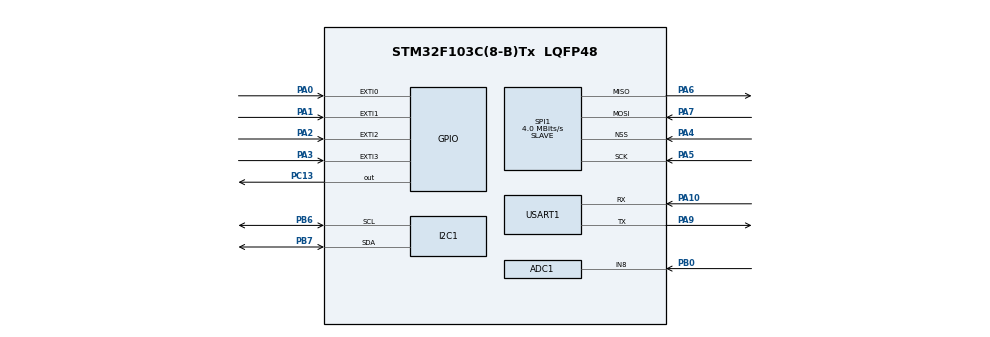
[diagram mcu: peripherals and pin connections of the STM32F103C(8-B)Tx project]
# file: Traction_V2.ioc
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ADC1.Channel-3\#ChannelRegularConversion=ADC_CHANNEL_8
ADC1.NbrOfConversionFlag=1
ADC1.Rank-3\#ChannelRegularConversion=1
ADC1.SamplingTime-3\#ChannelRegularConversion=ADC_SAMPLETIME_1CYCLE_5
ADC1.master=1
Mcu.Family=STM32F1
Mcu.Name=STM32F103C(8-B)Tx
Mcu.Package=LQFP48
NVIC.EXTI0_IRQn=true\:0\:0\:false\:false\:true\:true
NVIC.EXTI1_IRQn=true\:0\:0\:false\:false\:true\:true
NVIC.EXTI2_IRQn=true\:0\:0\:false\:false\:true\:true
NVIC.EXTI3_IRQn=true\:0\:0\:false\:false\:true\:true
NVIC.PriorityGroup=NVIC_PRIORITYGROUP_4
NVIC.SPI1_IRQn=true\:0\:0\:false\:false\:true\:true
NVIC.TIM2_IRQn=true\:0\:0\:false\:false\:true\:true
NVIC.TIM3_IRQn=true\:0\:0\:false\:false\:true\:true
PA0-WKUP.Signal=GPXTI0
PA1.Signal=GPXTI1
PA10.Mode=Asynchronous
PA10.Signal=USART1_RX
PA13.Mode=Serial_Wire
PA13.Signal=SYS_JTMS-SWDIO
PA14.Mode=Serial_Wire
PA14.Signal=SYS_JTCK-SWCLK
PA2.Signal=GPXTI2
PA3.Signal=GPXTI3
PA4.Mode=NSS_Signal_Hard_Input
PA4.Signal=SPI1_NSS
PA5.Mode=Full_Duplex_Slave
PA5.Signal=SPI1_SCK
PA6.Mode=Full_Duplex_Slave
PA6.Signal=SPI1_MISO
PA7.Mode=Full_Duplex_Slave
PA7.Signal=SPI1_MOSI
PA9.Mode=Asynchronous
PA9.Signal=USART1_TX
PB0.Signal=ADCx_IN8
PB6.Mode=I2C
PB6.Signal=I2C1_SCL
PB7.Mode=I2C
PB7.Signal=I2C1_SDA
PC13-TAMPER-RTC.Signal=GPIO_Output
ProjectManager.HeapSize=0x200
ProjectManager.StackSize=0x400
ProjectManager.TargetToolchain=Makefile
RCC.APB1Freq_Value=8000000
RCC.APB2Freq_Value=8000000
SH.ADCx_IN8.0=ADC1_IN8,IN8
SPI1.CalculateBaudRate=4.0 MBits/s
SPI1.Direction=SPI_DIRECTION_2LINES
SPI1.Mode=SPI_MODE_SLAVE
SPI1.VirtualNSS=VM_NSSHARD
SPI1.VirtualType=VM_SLAVE
USART1.VirtualMode=VM_ASYNC
VP_TIM2_VS_ClockSourceINT.Mode=Internal
VP_TIM3_VS_ClockSourceINT.Mode=Internal
board=custom

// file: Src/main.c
#include "main.h"

ADC_HandleTypeDef hadc1;

I2C_HandleTypeDef hi2c1;

SPI_HandleTypeDef hspi1;

TIM_HandleTypeDef htim2;
TIM_HandleTypeDef htim3;

UART_HandleTypeDef huart1;

/* USER CODE BEGIN PV */

/* parameter list:

PID: Kp, Ki, Kd, update rate (TIM)
EXTI: TIM frequency, timeout value

pot i2c address

EXTI0 = front left wheel
EXTI1 = front right wheel
EXTI2 = back left wheel
EXTI3 = back right wheel
TIM2 = freq measurement timer
TIM3 = PID timer

timeout - if count == 3, reset count, freq = 0

*/

int setpoint = 0;
int bias = 50;

float kp = 1;
float ki = 0;
float kd = 0;
int pid_rate = 25; // Hz
float dt = 0.04;

float integral = 0;
float derivative = 0;

int control = 0;
int slip = 0;
int error = 0;
int prev_error = 0;
int front_avg = 0;
int back_avg = 0;

int tc_on = 1;

//front left wheel
int fl_new = 0; // current timer value
int fl_old = 0; // previous timer value
int fl_count = 0; // count TIM2 resets between fl_new and fl_old
int fl_delta = 0; // difference in ticks between new and old
int fl_freq = 0; // frequency in Hz

//front right wheel
int fr_new = 0; // current timer value
int fr_old = 0; // previous timer value
int fr_count = 0; // count TIM2 resets between fl_new and fl_old
int fr_delta = 0; // difference in ticks between new and old
int fr_freq = 0; // frequency in Hz

//back left wheel
int bl_new = 0; // current timer value
int bl_old = 0; // previous timer value
int bl_count = 0; // count TIM2 resets between fl_new and fl_old
int bl_delta = 0; // difference in ticks between new and old
int bl_freq = 0; // frequency in Hz

//back right wheel
int br_new = 0; // current timer value
int br_old = 0; // previous timer value
int br_count = 0; // count TIM2 resets between fl_new and fl_old
int br_delta = 0; // difference in ticks between new and old
int br_freq = 0; // frequency in Hz

// traction control code
uint8_t traction_control_count = 0;
#define MAX_CONTROL_VALUE 255
#define TRACTION_DISABLE_COUNT 8
#define MIN(x, y) ((y) ^ (((x) ^ (y)) & -((x) < (y))))
#define MAX(x, y) ((x) ^ (((x) ^ (y)) & -((x) < (y))))

/* USER CODE END PV */

void SystemClock_Config(void);
static void MX_GPIO_Init(void);
static void MX_I2C1_Init(void);
static void MX_SPI1_Init(void);
static void MX_USART1_UART_Init(void);
static void MX_TIM2_Init(void);
static void MX_ADC1_Init(void);
static void MX_TIM3_Init(void);

int main(void)
{

  /* MCU Configuration--------------------------------------------------------*/

  /* Reset of all peripherals, Initializes the Flash interface and the Systick. */
  HAL_Init();

  /* Configure the system clock */
  SystemClock_Config();

  /* Initialize all configured peripherals */
  MX_GPIO_Init();
  MX_I2C1_Init();
  MX_SPI1_Init();
  MX_USART1_UART_Init();
  MX_TIM2_Init();
  MX_ADC1_Init();
  MX_TIM3_Init();
  /* USER CODE BEGIN 2 */
  unsigned char data[1];
  /* USER CODE END 2 */

  /* Infinite loop */
  while (1)
  {

	/* if (tc_on) PID_controller();
	else I = 0, send lowest R over I2C */
	// PID interrupt still runs when TC is off, but the value isn't sent

	fl_freq = 40000 / fl_delta;
	fr_freq = 40000 / fr_delta;
	bl_freq = 40000 / bl_delta;
	br_freq = 40000 / br_delta;

	if (fl_count >= 2) fl_freq = 0;
	if (fr_count >= 2) fr_freq = 0;
	if (bl_count >= 2) bl_freq = 0;
	if (br_count >= 2) br_freq = 0;

	front_avg = (fl_freq + fr_freq) / 2;
	back_avg = (bl_freq + br_freq) / 2;

	slip = front_avg - back_avg;

	prev_error = error;
	error = slip - setpoint;

	if (slip == 0) HAL_GPIO_TogglePin(GPIOC, GPIO_PIN_13);

	if (control < 0) control = 0;
	if (control > 255) control = 255;

	/*unsigned char spi_data[2];
	spi_data[0] = 0;
	spi_data[1] = 255;
	HAL_SPI_Transmit(&hspi1, spi_data, sizeof(spi_data), 1000);*/

	unsigned char data[2];
	data[0] = 0x00;
	data[1] = control;
	if (HAL_I2C_Master_Transmit(&hi2c1, (0b0101111)<<1, data, sizeof(data), 1000) == HAL_OK)
	{
		//HAL_GPIO_TogglePin(GPIOC, GPIO_PIN_13);
	}

	data[0] = error;
	HAL_UART_Transmit(&huart1, data, sizeof(data), 1000);
	HAL_Delay(50);

	/*data[0] = fl_freq;
	data[1] = 0xFF;
	data[2] = fr_freq;
	data[3] = 0xFF;
	data[4] = bl_freq;
	data[5] = 0xFF;
	data[6] = br_freq;
	data[7] = 0xFF;
	HAL_UART_Transmit(&huart1, data, sizeof(data), 1000);
	HAL_Delay(500);*/

  }
}

/******************************************************************************/
/* STM32F1xx Peripheral Interrupt Handlers                                    */
/* Add here the Interrupt Handlers for the used peripherals.                  */
/* For the available peripheral interrupt handler names,                      */
/* please refer to the startup file (startup_stm32f1xx.s).                    */
/******************************************************************************/

/**
  * @brief This function handles EXTI line0 interrupt.
  */
void EXTI0_IRQHandler(void)
{
  /* USER CODE BEGIN EXTI0_IRQn 0 */
  fl_new = __HAL_TIM_GET_COUNTER(&htim2);
  fl_delta = fl_new - fl_old + 40000 * fl_count;
  fl_old = fl_new;
  fl_count = 0;
  traction_control_count = 0;
  /* USER CODE END EXTI0_IRQn 0 */
  HAL_GPIO_EXTI_IRQHandler(GPIO_PIN_0);
}

/**
  * @brief This function handles EXTI line1 interrupt.
  */
void EXTI1_IRQHandler(void)
{
  /* USER CODE BEGIN EXTI1_IRQn 0 */
  fr_new = __HAL_TIM_GET_COUNTER(&htim2);
  fr_delta = fr_new - fr_old + 40000 * fr_count;
  fr_old = fr_new;
  fr_count = 0;
  traction_control_count = 0;
  /* USER CODE END EXTI1_IRQn 0 */
  HAL_GPIO_EXTI_IRQHandler(GPIO_PIN_1);
}

/**
  * @brief This function handles EXTI line2 interrupt.
  */
void EXTI2_IRQHandler(void)
{
  /* USER CODE BEGIN EXTI2_IRQn 0 */
  bl_new = __HAL_TIM_GET_COUNTER(&htim2);
  bl_delta = bl_new - bl_old + 40000 * bl_count;
  bl_old = bl_new;
  bl_count = 0;
  traction_control_count = 0;
  /* USER CODE END EXTI2_IRQn 0 */
  HAL_GPIO_EXTI_IRQHandler(GPIO_PIN_2);
}

/**
  * @brief This function handles EXTI line3 interrupt.
  */
void EXTI3_IRQHandler(void)
{
  /* USER CODE BEGIN EXTI3_IRQn 0 */
  br_new = __HAL_TIM_GET_COUNTER(&htim2);
  br_delta = br_new - br_old + 40000 * br_count;
  br_old = br_new;
  br_count = 0;
  traction_control_count = 0;
  /* USER CODE END EXTI3_IRQn 0 */
  HAL_GPIO_EXTI_IRQHandler(GPIO_PIN_3);
}

/**
  * @brief This function handles TIM2 global interrupt.
  */
void TIM2_IRQHandler(void)
{
  /* USER CODE BEGIN TIM2_IRQn 0 */
  fl_count++;
  fr_count++;
  bl_count++;
  br_count++;
  /* USER CODE END TIM2_IRQn 0 */
  HAL_TIM_IRQHandler(&htim2);
  // If traction control is greater than the max, set to TRACTION_DISABLE_COUNT+1
  traction_control_count = MIN(TRACTION_DISABLE_COUNT + 1, traction_control_count++);
}

/**
  * @brief This function handles TIM3 global interrupt.
  */
void TIM3_IRQHandler(void)
{
  /* USER CODE BEGIN TIM3_IRQn 0 */
  // calculate I, D, and control value (need this here because otherwise P would update faster)
  integral += dt * error;
  derivative = (error - prev_error) / dt;

  control = traction_control_count > TRACTION_DISABLE_COUNT
	  ? MAX_CONTROL_VALUE
	  : bias + kp * error + ki * integral + kd * derivative;
  /* USER CODE END TIM3_IRQn 0 */
  HAL_TIM_IRQHandler(&htim3);
}

/**
  * @brief This function handles SPI1 global interrupt.
  */
void SPI1_IRQHandler(void)
{
  HAL_SPI_IRQHandler(&hspi1);
}

void SystemClock_Config(void)
{
  RCC_OscInitTypeDef RCC_OscInitStruct = {0};
  RCC_ClkInitTypeDef RCC_ClkInitStruct = {0};
  RCC_PeriphCLKInitTypeDef PeriphClkInit = {0};

  /**Initializes the CPU, AHB and APB busses clocks
  */
  RCC_OscInitStruct.OscillatorType = RCC_OSCILLATORTYPE_HSI;
  RCC_OscInitStruct.HSIState = RCC_HSI_ON;
  RCC_OscInitStruct.HSICalibrationValue = RCC_HSICALIBRATION_DEFAULT;
  RCC_OscInitStruct.PLL.PLLState = RCC_PLL_NONE;
  if (HAL_RCC_OscConfig(&RCC_OscInitStruct) != HAL_OK)
  {
    Error_Handler();
  }
  /**Initializes the CPU, AHB and APB busses clocks
  */
  RCC_ClkInitStruct.ClockType = RCC_CLOCKTYPE_HCLK|RCC_CLOCKTYPE_SYSCLK
                              |RCC_CLOCKTYPE_PCLK1|RCC_CLOCKTYPE_PCLK2;
  RCC_ClkInitStruct.SYSCLKSource = RCC_SYSCLKSOURCE_HSI;
  RCC_ClkInitStruct.AHBCLKDivider = RCC_SYSCLK_DIV1;
  RCC_ClkInitStruct.APB1CLKDivider = RCC_HCLK_DIV1;
  RCC_ClkInitStruct.APB2CLKDivider = RCC_HCLK_DIV1;

  if (HAL_RCC_ClockConfig(&RCC_ClkInitStruct, FLASH_LATENCY_0) != HAL_OK)
  {
    Error_Handler();
  }
  PeriphClkInit.PeriphClockSelection = RCC_PERIPHCLK_ADC;
  PeriphClkInit.AdcClockSelection = RCC_ADCPCLK2_DIV2;
  if (HAL_RCCEx_PeriphCLKConfig(&PeriphClkInit) != HAL_OK)
  {
    Error_Handler();
  }
}

static void MX_ADC1_Init(void)
{

  ADC_ChannelConfTypeDef sConfig = {0};

  /**Common config
  */
  hadc1.Instance = ADC1;
  hadc1.Init.ScanConvMode = ADC_SCAN_DISABLE;
  hadc1.Init.ContinuousConvMode = DISABLE;
  hadc1.Init.DiscontinuousConvMode = DISABLE;
  hadc1.Init.ExternalTrigConv = ADC_SOFTWARE_START;
  hadc1.Init.DataAlign = ADC_DATAALIGN_RIGHT;
  hadc1.Init.NbrOfConversion = 1;
  if (HAL_ADC_Init(&hadc1) != HAL_OK)
  {
    Error_Handler();
  }
  /**Configure Regular Channel
  */
  sConfig.Channel = ADC_CHANNEL_8;
  sConfig.Rank = ADC_REGULAR_RANK_1;
  sConfig.SamplingTime = ADC_SAMPLETIME_1CYCLE_5;
  if (HAL_ADC_ConfigChannel(&hadc1, &sConfig) != HAL_OK)
  {
    Error_Handler();
  }

}

static void MX_I2C1_Init(void)
{

  hi2c1.Instance = I2C1;
  hi2c1.Init.ClockSpeed = 100000;
  hi2c1.Init.DutyCycle = I2C_DUTYCYCLE_2;
  hi2c1.Init.OwnAddress1 = 0;
  hi2c1.Init.AddressingMode = I2C_ADDRESSINGMODE_7BIT;
  hi2c1.Init.DualAddressMode = I2C_DUALADDRESS_DISABLE;
  hi2c1.Init.OwnAddress2 = 0;
  hi2c1.Init.GeneralCallMode = I2C_GENERALCALL_DISABLE;
  hi2c1.Init.NoStretchMode = I2C_NOSTRETCH_DISABLE;
  if (HAL_I2C_Init(&hi2c1) != HAL_OK)
  {
    Error_Handler();
  }

}

static void MX_SPI1_Init(void)
{

  /* SPI1 parameter configuration*/
  hspi1.Instance = SPI1;
  hspi1.Init.Mode = SPI_MODE_MASTER; // change to slave later
  hspi1.Init.Direction = SPI_DIRECTION_2LINES;
  hspi1.Init.DataSize = SPI_DATASIZE_8BIT;
  hspi1.Init.CLKPolarity = SPI_POLARITY_LOW;
  hspi1.Init.CLKPhase = SPI_PHASE_1EDGE;
  hspi1.Init.NSS = SPI_NSS_HARD_OUTPUT;
  hspi1.Init.BaudRatePrescaler = SPI_BAUDRATEPRESCALER_2;
  hspi1.Init.FirstBit = SPI_FIRSTBIT_MSB;
  hspi1.Init.TIMode = SPI_TIMODE_DISABLE;
  hspi1.Init.CRCCalculation = SPI_CRCCALCULATION_DISABLE;
  hspi1.Init.CRCPolynomial = 10;
  if (HAL_SPI_Init(&hspi1) != HAL_OK)
  {
    Error_Handler();
  }

}

static void MX_TIM2_Init(void)
{

  TIM_ClockConfigTypeDef sClockSourceConfig = {0};
  TIM_MasterConfigTypeDef sMasterConfig = {0};

  htim2.Instance = TIM2;
  htim2.Init.Prescaler = 200-1;
  htim2.Init.CounterMode = TIM_COUNTERMODE_UP;
  htim2.Init.Period = 40000;
  htim2.Init.ClockDivision = TIM_CLOCKDIVISION_DIV1;
  htim2.Init.AutoReloadPreload = TIM_AUTORELOAD_PRELOAD_DISABLE;
  if (HAL_TIM_Base_Init(&htim2) != HAL_OK)
  {
    Error_Handler();
  }
  sClockSourceConfig.ClockSource = TIM_CLOCKSOURCE_INTERNAL;
  if (HAL_TIM_ConfigClockSource(&htim2, &sClockSourceConfig) != HAL_OK)
  {
    Error_Handler();
  }
  sMasterConfig.MasterOutputTrigger = TIM_TRGO_RESET;
  sMasterConfig.MasterSlaveMode = TIM_MASTERSLAVEMODE_DISABLE;
  if (HAL_TIMEx_MasterConfigSynchronization(&htim2, &sMasterConfig) != HAL_OK)
  {
    Error_Handler();
  }
  /* USER CODE BEGIN TIM2_Init 2 */
  //HAL_NVIC_SetPriority(TIM2_IRQn, 0, 0);
  //HAL_NVIC_EnableIRQ(TIM2_IRQn);
  HAL_TIM_Base_Start_IT(&htim2);
  /* USER CODE END TIM2_Init 2 */

}

static void MX_TIM3_Init(void)
{

  TIM_ClockConfigTypeDef sClockSourceConfig = {0};
  TIM_MasterConfigTypeDef sMasterConfig = {0};

  htim3.Instance = TIM3;
  htim3.Init.Prescaler = 200-1;
  htim3.Init.CounterMode = TIM_COUNTERMODE_UP;
  htim3.Init.Period = 40000 / pid_rate;
  htim3.Init.ClockDivision = TIM_CLOCKDIVISION_DIV1;
  htim3.Init.AutoReloadPreload = TIM_AUTORELOAD_PRELOAD_DISABLE;
  if (HAL_TIM_Base_Init(&htim3) != HAL_OK)
  {
    Error_Handler();
  }
  sClockSourceConfig.ClockSource = TIM_CLOCKSOURCE_INTERNAL;
  if (HAL_TIM_ConfigClockSource(&htim3, &sClockSourceConfig) != HAL_OK)
  {
    Error_Handler();
  }
  sMasterConfig.MasterOutputTrigger = TIM_TRGO_RESET;
  sMasterConfig.MasterSlaveMode = TIM_MASTERSLAVEMODE_DISABLE;
  if (HAL_TIMEx_MasterConfigSynchronization(&htim3, &sMasterConfig) != HAL_OK)
  {
    Error_Handler();
  }
  /* USER CODE BEGIN TIM3_Init 2 */
  //HAL_NVIC_SetPriority(TIM3_IRQn, 0, 0);
  //HAL_NVIC_EnableIRQ(TIM3_IRQn);
  HAL_TIM_Base_Start_IT(&htim3);
  /* USER CODE END TIM3_Init 2 */

}

static void MX_USART1_UART_Init(void)
{

  huart1.Instance = USART1;
  huart1.Init.BaudRate = 115200;
  huart1.Init.WordLength = UART_WORDLENGTH_8B;
  huart1.Init.StopBits = UART_STOPBITS_1;
  huart1.Init.Parity = UART_PARITY_NONE;
  huart1.Init.Mode = UART_MODE_TX_RX;
  huart1.Init.HwFlowCtl = UART_HWCONTROL_NONE;
  huart1.Init.OverSampling = UART_OVERSAMPLING_16;
  if (HAL_UART_Init(&huart1) != HAL_OK)
  {
    Error_Handler();
  }

}

static void MX_GPIO_Init(void)
{
  GPIO_InitTypeDef GPIO_InitStruct = {0};

  /* GPIO Ports Clock Enable */
  __HAL_RCC_GPIOC_CLK_ENABLE();
  __HAL_RCC_GPIOA_CLK_ENABLE();
  __HAL_RCC_GPIOB_CLK_ENABLE();

  /*Configure GPIO pin Output Level */
  HAL_GPIO_WritePin(GPIOC, GPIO_PIN_13, GPIO_PIN_RESET);

  /*Configure GPIO pin : PC13 */
  GPIO_InitStruct.Pin = GPIO_PIN_13;
  GPIO_InitStruct.Mode = GPIO_MODE_OUTPUT_PP;
  GPIO_InitStruct.Pull = GPIO_NOPULL;
  GPIO_InitStruct.Speed = GPIO_SPEED_FREQ_LOW;
  HAL_GPIO_Init(GPIOC, &GPIO_InitStruct);

  /*Configure GPIO pins : PA0 PA1 PA2 PA3 */
  GPIO_InitStruct.Pin = GPIO_PIN_0|GPIO_PIN_1|GPIO_PIN_2|GPIO_PIN_3;
  GPIO_InitStruct.Mode = GPIO_MODE_IT_RISING;
  GPIO_InitStruct.Pull = GPIO_NOPULL;
  HAL_GPIO_Init(GPIOA, &GPIO_InitStruct);

  /* EXTI interrupt init*/
  HAL_NVIC_SetPriority(EXTI0_IRQn, 0, 0);
  HAL_NVIC_EnableIRQ(EXTI0_IRQn);

  HAL_NVIC_SetPriority(EXTI1_IRQn, 0, 0);
  HAL_NVIC_EnableIRQ(EXTI1_IRQn);

  HAL_NVIC_SetPriority(EXTI2_IRQn, 0, 0);
  HAL_NVIC_EnableIRQ(EXTI2_IRQn);

  HAL_NVIC_SetPriority(EXTI3_IRQn, 0, 0);
  HAL_NVIC_EnableIRQ(EXTI3_IRQn);

}

void Error_Handler(void)
{
}

/************************ (C) COPYRIGHT STMicroelectronics *****END OF FILE****/
